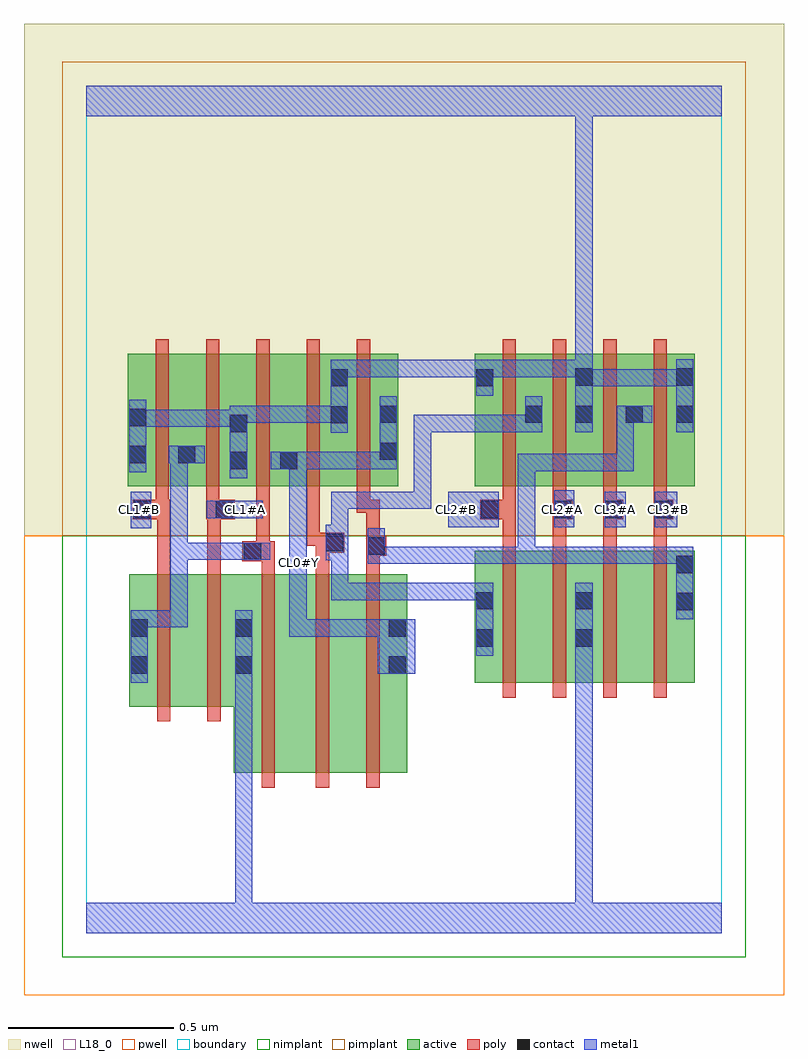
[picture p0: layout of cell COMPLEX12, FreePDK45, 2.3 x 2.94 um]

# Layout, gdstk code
import gdstk
lib = gdstk.Library(unit=1e-6, precision=1e-09)
def R(c, l, rs):  # rectangles x0, y0, x1, y1
    for r in rs: c.add(gdstk.rectangle(r[:2], r[2:], *l))
def A(c, l, x, y, w, h, nx, ny, dx, dy):  # array of equal rectangles
    R(c, l, [(x+i*dx, y+j*dy, x+i*dx+w, y+j*dy+h) for i in range(nx) for j in range(ny)])
active = (1, 0)
pwell = (2, 0)
nwell = (3, 0)
nimplant = (4, 0)
pimplant = (5, 0)
poly = (9, 0)
contact = (10, 0)
metal1 = (11, 0)
L18_0 = (18, 0)
boundary = (235, 0)

complex12 = lib.new_cell('COMPLEX12')
A(complex12, active, 1.322, 1.35, 0.212, 0.4, 3, 1, 0.152, 0)
R(complex12, active, [(0.446,0.484,0.626,1.084), (0.446,0.484,0.506,1.062), (0.626,0.484,0.79,1.084), (0.79,0.484,0.97,1.084), (0.91,0.556,0.97,1.084), (0.13,0.684,0.19,1.084), (0.13,0.684,0.31,1.084), (0.31,0.684,0.506,1.084), (1.174,0.756,1.234,1.156), (1.174,0.756,1.354,1.156), (1.354,0.756,1.534,1.156), (1.474,0.756,1.658,1.156), (1.474,0.756,1.534,1.034), (1.658,0.756,1.838,1.156), (1.778,0.756,1.838,1.156), (0.126,1.35,0.334,1.75), (0.126,1.35,0.186,1.644), (0.274,1.35,0.49,1.75), (0.43,1.35,0.642,1.75), (0.582,1.35,0.794,1.75), (0.734,1.35,0.942,1.75), (0.882,1.35,0.942,1.644), (1.174,1.35,1.234,1.75), (1.174,1.35,1.382,1.75), (1.778,1.35,1.838,1.75), (0.43,1.398,0.49,1.644), (0.582,1.398,0.642,1.644), (0.274,1.416,0.334,1.644), (0.734,1.472,0.794,1.75), (1.322,1.498,1.382,1.75), (1.474,1.526,1.534,1.71), (1.626,1.538,1.686,1.644)])
R(complex12, pwell, [(-0.188,-0.188,2.108,1.2)])
R(complex12, nwell, [(-0.188,1.2,2.108,2.748)])
R(complex12, nimplant, [(-0.072,-0.072,1.992,1.2)])
R(complex12, pimplant, [(-0.072,1.2,1.992,2.632)])
A(complex12, poly, 1.258, 0.712, 0.04, 0.488, 4, 2, 0.152, 0.594)
A(complex12, poly, 1.258, 1.16, 0.04, 0.13, 4, 1, 0.152, 0)
A(complex12, poly, 1.41, 1.25, 0.06, 0.06, 3, 1, 0.152, 0)
A(complex12, poly, 1.258, 1.27, 0.04, 0.076, 4, 1, 0.152, 0)
A(complex12, poly, 0.21, 1.306, 0.04, 0.488, 5, 1, 0.152, 0)
R(complex12, poly, [(0.53,0.44,0.57,1.128), (0.694,0.44,0.734,1.128), (0.846,0.44,0.886,1.128), (0.214,0.64,0.254,1.128), (0.366,0.64,0.406,1.128), (0.214,1.088,0.254,1.29), (0.366,1.088,0.406,1.29), (0.53,1.088,0.57,1.164), (0.694,1.088,0.734,1.19), (0.846,1.088,0.886,1.18), (0.472,1.124,0.57,1.184), (0.846,1.14,0.906,1.2), (0.514,1.144,0.554,1.184), (0.514,1.144,0.554,1.184), (0.514,1.144,0.554,1.346), (0.694,1.15,0.78,1.21), (0.846,1.16,0.886,1.31), (0.666,1.17,0.734,1.21), (0.666,1.17,0.706,1.346), (0.694,1.17,0.734,1.21), (0.14,1.25,0.254,1.31), (0.362,1.25,0.448,1.31), (0.366,1.25,0.406,1.29), (0.366,1.25,0.406,1.29), (1.19,1.25,1.298,1.31), (1.258,1.25,1.298,1.29), (1.258,1.25,1.298,1.29), (1.714,1.25,1.754,1.29), (1.714,1.25,1.754,1.29), (0.21,1.27,0.25,1.346), (0.21,1.27,0.25,1.31), (0.21,1.27,0.25,1.31), (0.362,1.27,0.402,1.346), (0.818,1.27,0.858,1.346), (0.818,1.27,0.886,1.31), (1.41,1.27,1.45,1.31), (1.41,1.27,1.45,1.31), (1.562,1.27,1.602,1.31), (1.562,1.27,1.602,1.31)])
A(complex12, contact, 1.414, 1.254, 0.052, 0.052, 3, 1, 0.152, 0)
A(complex12, contact, 1.326, 1.542, 0.052, 0.052, 4, 1, 0.152, 0)
R(complex12, contact, [(0.134,0.784,0.186,0.836), (0.45,0.784,0.502,0.836), (0.914,0.784,0.966,0.836), (1.178,0.866,1.23,0.918), (1.478,0.866,1.53,0.918), (0.134,0.896,0.186,0.948), (0.45,0.896,0.502,0.948), (0.914,0.896,0.966,0.948), (1.782,0.976,1.834,1.028), (1.178,0.978,1.23,1.03), (1.478,0.978,1.53,1.03), (1.782,1.088,1.834,1.14), (0.476,1.128,0.528,1.18), (0.85,1.144,0.902,1.196), (0.724,1.154,0.776,1.206), (0.144,1.254,0.196,1.306), (0.392,1.254,0.444,1.306), (1.194,1.254,1.246,1.306), (0.434,1.402,0.486,1.454), (0.586,1.402,0.638,1.454), (0.13,1.42,0.182,1.472), (0.278,1.42,0.33,1.472), (0.886,1.43,0.938,1.482), (0.434,1.514,0.486,1.566), (0.13,1.532,0.182,1.584), (0.738,1.54,0.79,1.592), (0.886,1.542,0.938,1.594), (0.738,1.652,0.79,1.704), (1.178,1.652,1.23,1.704), (1.478,1.654,1.53,1.706), (1.782,1.654,1.834,1.706)])
R(complex12, metal1, [(0,0,1.92,0.092), (0.45,0.04,0.502,0.808), (1.478,0.04,1.53,0.89), (0.134,0.756,0.186,0.976), (0.45,0.756,0.502,0.808), (0.45,0.756,0.502,0.808), (0.45,0.756,0.502,0.808), (0.45,0.756,0.502,0.808), (0.45,0.756,0.502,0.808), (0.45,0.756,0.502,0.808), (0.45,0.756,0.502,0.808), (0.45,0.756,0.502,0.808), (0.45,0.756,0.502,0.976), (0.88,0.784,0.994,0.948), (1.178,0.838,1.23,1.058), (1.478,0.838,1.53,0.89), (1.478,0.838,1.53,0.89), (1.478,0.838,1.53,0.89), (1.478,0.838,1.53,0.89), (1.478,0.838,1.53,0.89), (1.478,0.838,1.53,0.89), (1.478,0.838,1.53,0.89), (1.478,0.838,1.53,0.89), (1.478,0.838,1.53,0.89), (1.478,0.838,1.53,0.89), (1.478,0.838,1.53,0.89), (1.478,0.838,1.53,0.89), (1.478,0.838,1.53,1.058), (0.614,0.896,0.666,0.948), (0.614,0.896,0.666,0.948), (0.614,0.896,0.666,0.948), (0.614,0.896,0.792,0.948), (0.614,0.896,0.666,1.118), (0.74,0.896,0.792,0.948), (0.74,0.896,0.932,0.948), (0.88,0.896,0.932,0.948), (0.88,0.896,0.932,0.948), (0.134,0.924,0.186,0.976), (0.134,0.924,0.186,0.976), (0.134,0.924,0.306,0.976), (0.254,0.924,0.306,0.976), (0.254,0.924,0.306,1.18), (1.782,0.948,1.834,1.168), (0.74,1.006,0.792,1.058), (0.74,1.006,0.932,1.058), (0.74,1.006,0.792,1.178), (0.88,1.006,0.932,1.058), (0.88,1.006,0.932,1.058), (0.88,1.006,0.932,1.058), (0.88,1.006,1.23,1.058), (0.614,1.066,0.666,1.118), (0.614,1.066,0.666,1.118), (0.614,1.066,0.666,1.174), (0.85,1.116,0.902,1.168), (0.85,1.116,0.902,1.168), (0.85,1.116,0.902,1.224), (0.85,1.116,1.246,1.168), (1.194,1.116,1.246,1.168), (1.194,1.116,1.246,1.168), (1.194,1.116,1.246,1.168), (1.194,1.116,1.356,1.168), (1.304,1.116,1.356,1.168), (1.304,1.116,1.356,1.168), (1.304,1.116,1.356,1.168), (1.304,1.116,1.508,1.168), (1.304,1.116,1.356,1.448), (1.456,1.116,1.508,1.168), (1.456,1.116,1.508,1.168), (1.456,1.116,1.508,1.168), (1.456,1.116,1.64,1.168), (1.588,1.116,1.64,1.168), (1.588,1.116,1.64,1.168), (1.588,1.116,1.64,1.168), (1.588,1.116,1.834,1.168), (1.782,1.116,1.834,1.168), (1.782,1.116,1.834,1.168), (0.614,1.122,0.666,1.174), (0.614,1.122,0.666,1.174), (0.614,1.122,0.666,1.454), (0.724,1.126,0.776,1.234), (0.724,1.126,0.792,1.178), (0.74,1.126,0.792,1.178), (0.74,1.126,0.792,1.334), (0.254,1.128,0.306,1.18), (0.254,1.128,0.306,1.18), (0.254,1.128,0.306,1.18), (0.254,1.128,0.306,1.18), (0.254,1.128,0.306,1.18), (0.254,1.128,0.5,1.18), (0.254,1.128,0.306,1.472), (0.448,1.128,0.5,1.18), (0.448,1.128,0.5,1.18), (0.448,1.128,0.556,1.18), (0.134,1.224,0.196,1.334), (1.094,1.226,1.246,1.334), (1.414,1.226,1.474,1.338), (1.566,1.226,1.63,1.334), (1.718,1.226,1.786,1.334), (0.364,1.254,0.534,1.306), (0.74,1.282,0.792,1.334), (0.74,1.282,0.932,1.334), (0.88,1.282,0.932,1.334), (0.88,1.282,0.932,1.334), (0.88,1.282,0.932,1.334), (0.88,1.282,1.042,1.334), (0.99,1.282,1.042,1.334), (0.99,1.282,1.042,1.566), (0.434,1.374,0.486,1.594), (0.13,1.392,0.182,1.612), (1.304,1.396,1.356,1.448), (1.304,1.396,1.356,1.448), (1.304,1.396,1.356,1.448), (1.304,1.396,1.508,1.448), (1.456,1.396,1.508,1.448), (1.456,1.396,1.654,1.448), (1.602,1.396,1.654,1.448), (1.602,1.396,1.654,1.448), (1.602,1.396,1.654,1.448), (1.602,1.396,1.654,1.594), (0.558,1.402,0.666,1.454), (0.614,1.402,0.792,1.454), (0.74,1.402,0.792,1.454), (0.74,1.402,0.792,1.454), (0.74,1.402,0.792,1.454), (0.74,1.402,0.902,1.454), (0.85,1.402,0.902,1.454), (0.85,1.402,0.938,1.454), (0.886,1.402,0.938,1.622), (0.25,1.42,0.358,1.472), (0.738,1.512,0.79,1.732), (0.99,1.514,1.042,1.566), (0.99,1.514,1.246,1.566), (1.194,1.514,1.246,1.566), (1.194,1.514,1.378,1.566), (1.326,1.514,1.378,1.622), (1.478,1.514,1.53,1.734), (1.782,1.514,1.834,1.734), (0.13,1.53,0.182,1.582), (0.13,1.53,0.182,1.582), (0.13,1.53,0.376,1.582), (0.324,1.53,0.376,1.582), (0.324,1.53,0.376,1.582), (0.324,1.53,0.376,1.582), (0.324,1.53,0.486,1.582), (0.434,1.542,0.486,1.594), (0.434,1.542,0.486,1.594), (0.434,1.542,0.612,1.594), (0.56,1.542,0.612,1.594), (0.56,1.542,0.79,1.594), (0.738,1.542,0.79,1.594), (0.738,1.542,0.79,1.594), (1.602,1.542,1.71,1.594), (1.178,1.624,1.23,1.732), (1.478,1.652,1.64,1.704), (1.588,1.652,1.64,1.704), (1.588,1.652,1.64,1.704), (1.588,1.652,1.64,1.704), (1.588,1.652,1.834,1.704), (1.782,1.652,1.834,1.704), (1.782,1.652,1.834,1.704), (0.738,1.68,0.932,1.732), (0.88,1.68,0.932,1.732), (0.88,1.68,0.932,1.732), (0.88,1.68,0.932,1.732), (0.88,1.68,1.23,1.732), (1.178,1.68,1.23,1.732), (1.178,1.68,1.23,1.732), (1.178,1.68,1.398,1.732), (1.346,1.68,1.398,1.732), (1.346,1.68,1.508,1.732), (1.456,1.68,1.508,1.732), (1.456,1.68,1.53,1.732), (1.478,1.682,1.53,1.734), (1.478,1.682,1.53,1.734), (1.478,1.682,1.53,1.734), (1.478,1.682,1.53,1.734), (1.478,1.682,1.53,1.734), (1.478,1.682,1.53,1.734), (1.478,1.682,1.53,1.734), (1.478,1.682,1.53,1.734), (1.478,1.682,1.53,1.734), (1.478,1.682,1.53,1.734), (1.478,1.682,1.53,1.734), (1.478,1.682,1.53,1.734), (1.478,1.682,1.53,1.734), (1.478,1.682,1.53,1.734), (1.478,1.682,1.53,1.734), (1.478,1.682,1.53,1.734), (1.478,1.682,1.53,2.52), (0,2.468,1.92,2.56)])
A(complex12, L18_0, 0.614, 1.066, 0.052, 0.052, 1, 3, 0, 0.028)
A(complex12, L18_0, 1.414, 1.254, 0.052, 0.052, 3, 1, 0.16, 0)
R(complex12, L18_0, [(0,0,1.92,0.092), (0.45,0.04,0.502,0.808), (1.478,0.04,1.53,0.89), (0.45,0.756,0.502,0.976), (0.45,0.756,0.502,0.808), (0.45,0.756,0.502,0.808), (0.45,0.756,0.502,0.808), (0.45,0.756,0.502,0.808), (0.45,0.756,0.502,0.808), (0.45,0.756,0.502,0.808), (0.45,0.756,0.502,0.808), (0.45,0.756,0.502,0.808), (0.88,0.784,0.994,0.948), (1.478,0.838,1.53,1.058), (1.478,0.838,1.53,0.89), (1.478,0.838,1.53,0.89), (1.478,0.838,1.53,0.89), (1.478,0.838,1.53,0.89), (1.478,0.838,1.53,0.89), (1.478,0.838,1.53,0.89), (1.478,0.838,1.53,0.89), (1.478,0.838,1.53,0.89), (1.478,0.838,1.53,0.89), (1.478,0.838,1.53,0.89), (1.478,0.838,1.53,0.89), (1.478,0.838,1.53,0.89), (0.614,0.896,0.666,0.948), (0.614,0.896,0.666,0.948), (0.614,0.896,0.666,0.948), (0.614,0.896,0.666,1.118), (0.614,0.896,0.792,0.948), (0.74,0.896,0.792,0.948), (0.74,0.896,0.932,0.948), (0.88,0.896,0.932,0.948), (0.88,0.896,0.932,0.948), (0.614,1.066,0.666,1.118), (0.614,1.066,0.666,1.174), (0.614,1.122,0.666,1.174), (0.614,1.122,0.666,1.454), (0.134,1.224,0.196,1.334), (1.094,1.226,1.246,1.334), (1.414,1.226,1.474,1.338), (1.566,1.226,1.63,1.334), (1.718,1.226,1.786,1.334), (0.134,1.254,0.186,1.306), (0.364,1.254,0.534,1.306), (0.454,1.254,0.506,1.306), (1.094,1.254,1.146,1.306), (0.434,1.374,0.486,1.594), (0.13,1.392,0.182,1.612), (0.558,1.402,0.666,1.454), (0.614,1.402,0.792,1.454), (0.74,1.402,0.792,1.454), (0.74,1.402,0.792,1.454), (0.74,1.402,0.792,1.454), (0.74,1.402,0.902,1.454), (0.85,1.402,0.902,1.454), (0.85,1.402,0.938,1.454), (0.886,1.402,0.938,1.622), (0.738,1.512,0.79,1.732), (1.478,1.514,1.53,1.734), (1.782,1.514,1.834,1.734), (0.13,1.53,0.182,1.582), (0.13,1.53,0.182,1.582), (0.13,1.53,0.376,1.582), (0.324,1.53,0.376,1.582), (0.324,1.53,0.376,1.582), (0.324,1.53,0.376,1.582), (0.324,1.53,0.486,1.582), (0.434,1.542,0.486,1.594), (0.434,1.542,0.486,1.594), (0.434,1.542,0.612,1.594), (0.56,1.542,0.612,1.594), (0.56,1.542,0.79,1.594), (0.738,1.542,0.79,1.594), (0.738,1.542,0.79,1.594), (1.178,1.624,1.23,1.732), (1.478,1.652,1.64,1.704), (1.588,1.652,1.64,1.704), (1.588,1.652,1.64,1.704), (1.588,1.652,1.64,1.704), (1.588,1.652,1.834,1.704), (1.782,1.652,1.834,1.704), (1.782,1.652,1.834,1.704), (0.738,1.68,0.932,1.732), (0.88,1.68,0.932,1.732), (0.88,1.68,0.932,1.732), (0.88,1.68,0.932,1.732), (0.88,1.68,1.23,1.732), (1.178,1.68,1.23,1.732), (1.178,1.68,1.23,1.732), (1.178,1.68,1.398,1.732), (1.346,1.68,1.398,1.732), (1.346,1.68,1.508,1.732), (1.456,1.68,1.508,1.732), (1.456,1.68,1.53,1.732), (1.478,1.682,1.53,1.734), (1.478,1.682,1.53,1.734), (1.478,1.682,1.53,1.734), (1.478,1.682,1.53,1.734), (1.478,1.682,1.53,1.734), (1.478,1.682,1.53,1.734), (1.478,1.682,1.53,1.734), (1.478,1.682,1.53,1.734), (1.478,1.682,1.53,1.734), (1.478,1.682,1.53,1.734), (1.478,1.682,1.53,1.734), (1.478,1.682,1.53,1.734), (1.478,1.682,1.53,1.734), (1.478,1.682,1.53,1.734), (1.478,1.682,1.53,1.734), (1.478,1.682,1.53,1.734), (1.478,1.682,1.53,2.52), (0,2.468,1.92,2.56)])
R(complex12, boundary, [(0,0,1.92,2.56)])
complex12.add(gdstk.Label('CL0#Y', (0.64,1.12), layer=11, texttype=0))
complex12.add(gdstk.Label('CL1#A', (0.48,1.28), layer=11, texttype=0))
complex12.add(gdstk.Label('CL1#B', (0.16,1.28), layer=11, texttype=0))
complex12.add(gdstk.Label('CL2#A', (1.44,1.28), layer=11, texttype=0))
complex12.add(gdstk.Label('CL2#B', (1.12,1.28), layer=11, texttype=0))
complex12.add(gdstk.Label('CL3#A', (1.6,1.28), layer=11, texttype=0))
complex12.add(gdstk.Label('CL3#B', (1.76,1.28), layer=11, texttype=0))

lib.write_gds('COMPLEX12.gds')
